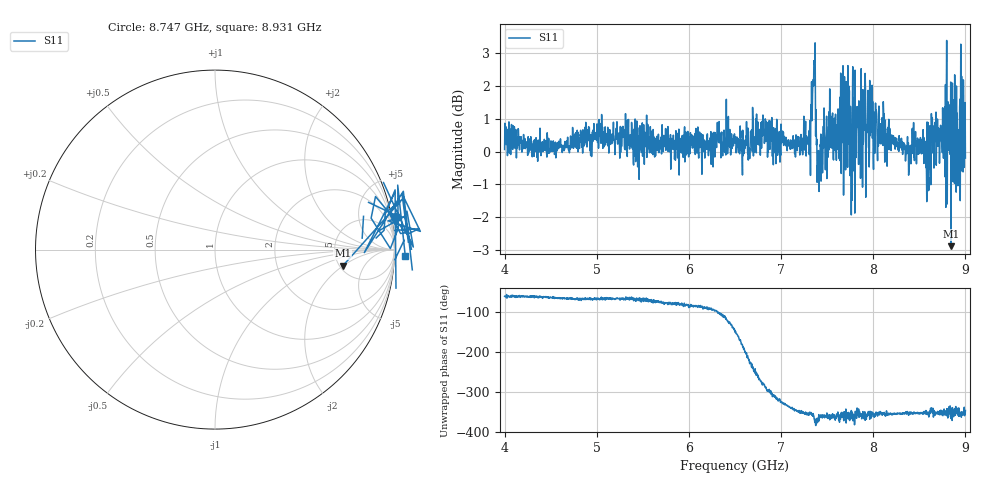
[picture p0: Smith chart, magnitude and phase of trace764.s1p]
! Created with skrf 1.8.0 (http://scikit-rf.org).
# Hz S RI R 50.0
!freq ReS11 ImS11
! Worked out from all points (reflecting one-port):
!   1601 points, 4 GHz to 9 GHz, reference 50 ohm
!   lowest |S11| = -2.9 dB at 8.844 GHz (marker M1), VSWR 6.09, Z = 266 - j99.3 ohm
!   phase of S11 starts at -61 deg and turns -286 deg over the sweep
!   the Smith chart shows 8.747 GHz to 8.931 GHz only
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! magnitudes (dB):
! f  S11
! 4 GHz  0.1
! 4.625 GHz  0.0
! 5.25 GHz  -0.2
! 5.875 GHz  0.4
! 6.5 GHz  0.5
! 6.819 GHz  0.2
! 7.125 GHz  0.4
! 7.294 GHz  0.2
! 7.347 GHz  2.0
! 7.366 GHz  2.8
! 7.409 GHz  -0.6
! 7.538 GHz  1.1
! 7.619 GHz  1.3
! 7.672 GHz  2.6
! 7.75 GHz  -0.1
! 7.788 GHz  -0.6
! 7.891 GHz  0.2
! 7.944 GHz  1.9
! 7.962 GHz  2.2
! 8.375 GHz  0.0
! 8.522 GHz  -0.1
! 8.603 GHz  -1.2
! 8.656 GHz  0.8
! 8.816 GHz  0.0
! 8.844 GHz  -2.9
! 8.919 GHz  -1.0
! 8.972 GHz  0.2
! 9 GHz  -0.2
